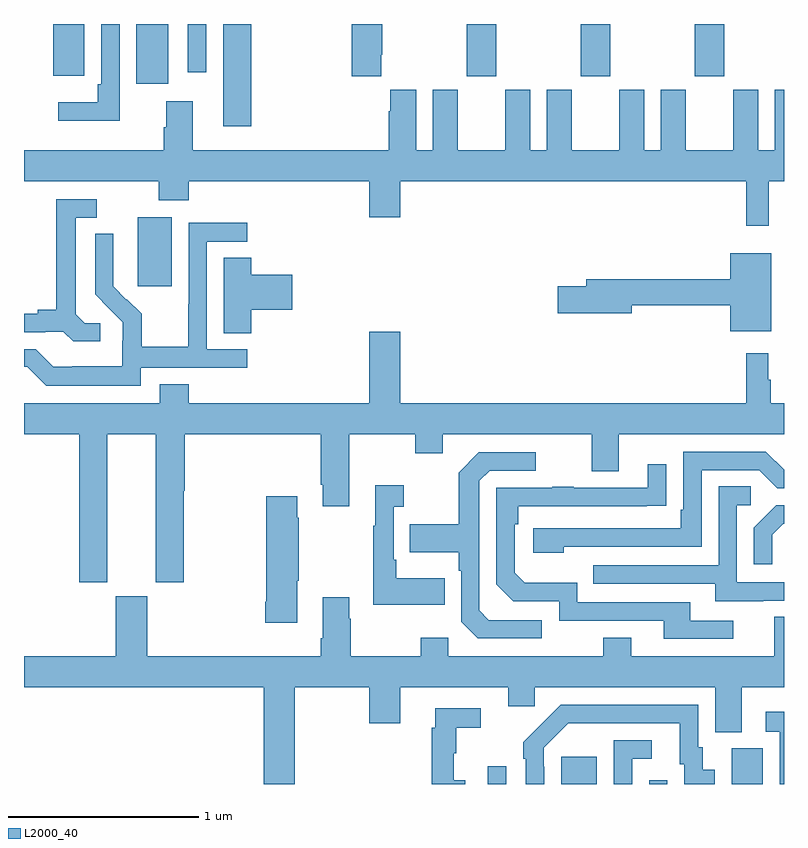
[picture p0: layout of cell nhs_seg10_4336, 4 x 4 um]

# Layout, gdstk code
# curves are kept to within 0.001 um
import gdstk
lib = gdstk.Library(unit=1e-6, precision=1e-09)
def R(c, l, rs):  # rectangles x0, y0, x1, y1
    for r in rs: c.add(gdstk.rectangle(r[:2], r[2:], *l))
def A(c, l, x, y, w, h, nx, ny, dx, dy):  # array of equal rectangles
    R(c, l, [(x+i*dx, y+j*dy, x+i*dx+w, y+j*dy+h) for i in range(nx) for j in range(ny)])
def P(c, l, *ps):  # polygons
    for p in ps: c.add(gdstk.Polygon(p, *l))
L2000_40 = (2000, 40)

nhs_seg10_4336 = lib.new_cell('nhs_seg10_4336')
A(nhs_seg10_4336, L2000_40, 357.331, 1278.225, 0.155, 0.275, 3, 1, 0.6, 0)
R(nhs_seg10_4336, L2000_40, [(357.441,1274.5,357.537,1274.593), (357.827,1274.5,358.015,1274.644), (358.29,1274.5,358.386,1274.521), (358.724,1274.5,358.888,1274.688), (355.598,1277.121,355.777,1277.482), (356.048,1277.961,356.195,1278.5), (355.592,1278.186,355.759,1278.5), (355.154,1278.227,355.318,1278.5), (355.863,1278.246,355.959,1278.5)])
P(nhs_seg10_4336, L2000_40, [(355.503,1278.5),(355.407,1278.5),(355.407,1278.184),(355.387,1278.184),(355.387,1278.088),(355.179,1278.088),(355.179,1277.99),(355.503,1277.99)],
  [(356.881,1278.337),(356.886,1278.337),(356.886,1278.5),(356.726,1278.5),(356.726,1278.225),(356.881,1278.225)],
  [(358.919,1277.672),(359,1277.672),(359,1278.154),(358.952,1278.154),(358.952,1277.836),(358.864,1277.836),(358.864,1278.154),(358.733,1278.154),(358.733,1277.836),(358.483,1277.836),(358.483,1278.154),(358.352,1278.154),(358.352,1277.836),(358.264,1277.836),(358.264,1278.154),(358.133,1278.154),(358.133,1277.836),(357.883,1277.836),(357.883,1278.154),(357.752,1278.154),(357.752,1277.836),(357.664,1277.836),(357.664,1278.154),(357.533,1278.154),(357.533,1277.836),(357.283,1277.836),(357.283,1278.154),(357.152,1278.154),(357.152,1277.836),(357.064,1277.836),(357.064,1278.154),(356.927,1278.154),(356.927,1278.041),(356.921,1278.041),(356.921,1277.836),(355.888,1277.836),(355.888,1278.094),(355.748,1278.094),(355.748,1277.957),(355.736,1277.957),(355.736,1277.836),(355,1277.836),(355,1277.672),(355.708,1277.672),(355.708,1277.573),(355.868,1277.573),(355.868,1277.672),(356.816,1277.672),(356.816,1277.484),(356.98,1277.484),(356.98,1277.672),(358.801,1277.672),(358.801,1277.439),(358.919,1277.439)],
  [(355.402,1276.926),(355.32,1276.926),(355.273,1276.973),(355.273,1277.481),(355.384,1277.481),(355.384,1277.577),(355.169,1277.577),(355.169,1276.997),(355.073,1276.997),(355.073,1276.974),(355,1276.974),(355,1276.878),(355.112,1276.878),(355.112,1276.881),(355.206,1276.881),(355.258,1276.829),(355.402,1276.829)],
  [(355.614,1276.692),(356.176,1276.692),(356.176,1276.788),(355.962,1276.788),(355.962,1277.355),(356.176,1277.355),(356.176,1277.454),(355.866,1277.454),(355.866,1277.024),(355.864,1277.024),(355.864,1276.801),(355.619,1276.801),(355.619,1276.975),(355.542,1277.052),(355.539,1277.049),(355.469,1277.12),(355.47,1277.396),(355.374,1277.396),(355.374,1277.078),(355.52,1276.93),(355.52,1276.833),(355.518,1276.833),(355.518,1276.699),(355.255,1276.699),(355.255,1276.695),(355.155,1276.695),(355.062,1276.788),(355,1276.788),(355,1276.695),(355.017,1276.695),(355.117,1276.595),(355.614,1276.595)],
  [(358.933,1277.293),(358.718,1277.293),(358.718,1277.156),(357.959,1277.156),(357.959,1277.12),(357.81,1277.12),(357.81,1276.978),(358.198,1276.978),(358.198,1277.02),(358.718,1277.02),(358.718,1276.883),(358.933,1276.883)],
  [(356.195,1276.997),(356.413,1276.997),(356.413,1277.18),(356.195,1277.18),(356.195,1277.27),(356.051,1277.27),(356.051,1276.873),(356.195,1276.873)],
  [(355.868,1276.603),(355.715,1276.603),(355.715,1276.504),(355,1276.504),(355,1276.34),(355.291,1276.34),(355.291,1275.561),(355.438,1275.561),(355.438,1276.34),(355.694,1276.34),(355.694,1275.561),(355.842,1275.561),(355.842,1276.044),(355.847,1276.044),(355.847,1276.34),(356.561,1276.34),(356.561,1276.075),(356.573,1276.075),(356.573,1275.963),(356.713,1275.963),(356.713,1276.34),(357.058,1276.34),(357.058,1276.241),(357.205,1276.241),(357.205,1276.34),(357.989,1276.34),(357.989,1276.146),(358.129,1276.146),(358.129,1276.34),(359,1276.34),(359,1276.504),(358.93,1276.504),(358.93,1276.628),(358.918,1276.628),(358.918,1276.768),(358.801,1276.768),(358.801,1276.504),(356.98,1276.504),(356.98,1276.879),(356.816,1276.879),(356.816,1276.504),(355.868,1276.504)],
  [(357.842,1275.75),(358.566,1275.75),(358.566,1276.152),(358.869,1276.152),(358.965,1276.056),(359,1276.056),(359,1276.153),(358.905,1276.248),(358.47,1276.248),(358.47,1275.943),(358.457,1275.943),(358.457,1275.846),(357.681,1275.846),(357.681,1275.716),(357.842,1275.716)],
  [(357.724,1275.363),(357.447,1275.363),(357.396,1275.414),(357.396,1276.095),(357.45,1276.149),(357.694,1276.149),(357.694,1276.245),(357.393,1276.245),(357.288,1276.139),(357.288,1275.867),(357.031,1275.867),(357.031,1275.719),(357.288,1275.719),(357.288,1275.623),(357.3,1275.623),(357.3,1275.354),(357.387,1275.267),(357.724,1275.267)],
  [(358.732,1275.36),(358.507,1275.36),(358.507,1275.456),(357.912,1275.456),(357.912,1275.559),(357.635,1275.559),(357.582,1275.612),(357.582,1275.866),(357.602,1275.866),(357.602,1275.963),(358.379,1275.964),(358.379,1276.183),(358.283,1276.183),(358.283,1276.059),(357.893,1276.059),(357.893,1276.064),(357.781,1276.064),(357.781,1276.059),(357.486,1276.059),(357.486,1275.552),(357.576,1275.462),(357.816,1275.462),(357.816,1275.36),(358.367,1275.36),(358.367,1275.264),(358.732,1275.264)],
  [(357.215,1275.583),(356.959,1275.583),(356.959,1275.679),(356.946,1275.679),(356.946,1275.959),(356.998,1275.959),(356.998,1276.072),(356.849,1276.072),(356.849,1275.859),(356.838,1275.859),(356.838,1275.443),(357.215,1275.443)],
  [(358.891,1275.465),(359,1275.465),(359,1275.561),(358.752,1275.561),(358.752,1275.966),(358.825,1275.966),(358.825,1276.067),(358.656,1276.067),(358.656,1275.651),(357.997,1275.651),(357.997,1275.555),(358.637,1275.555),(358.637,1275.461),(358.891,1275.461)],
  [(356.437,1275.571),(356.445,1275.571),(356.445,1275.902),(356.437,1275.902),(356.437,1276.015),(356.275,1276.015),(356.275,1275.46),(356.27,1275.46),(356.27,1275.348),(356.437,1275.348)],
  [(358.939,1275.813),(358.996,1275.87),(359,1275.87),(359,1275.966),(358.958,1275.966),(358.842,1275.85),(358.842,1275.657),(358.939,1275.657)],
  [(356.425,1275.008),(356.816,1275.008),(356.816,1274.82),(356.98,1274.82),(356.98,1275.008),(357.548,1275.008),(357.548,1274.91),(357.687,1274.91),(357.687,1275.008),(358.637,1275.008),(358.637,1274.773),(358.777,1274.773),(358.777,1275.008),(359,1275.008),(359,1275.38),(358.949,1275.38),(358.949,1275.172),(358.195,1275.172),(358.195,1275.271),(358.048,1275.271),(358.048,1275.172),(357.234,1275.172),(357.234,1275.271),(357.088,1275.271),(357.088,1275.172),(356.721,1275.172),(356.721,1275.371),(356.713,1275.371),(356.713,1275.484),(356.573,1275.484),(356.573,1275.268),(356.561,1275.268),(356.561,1275.172),(355.648,1275.172),(355.648,1275.489),(355.484,1275.489),(355.484,1275.172),(355,1275.172),(355,1275.008),(356.261,1275.008),(356.261,1274.5),(356.425,1274.5)],
  [(357.738,1274.591),(357.735,1274.591),(357.735,1274.691),(357.864,1274.82),(358.451,1274.82),(358.451,1274.604),(358.475,1274.604),(358.475,1274.5),(358.636,1274.5),(358.636,1274.575),(358.573,1274.575),(358.573,1274.694),(358.548,1274.694),(358.548,1274.916),(357.824,1274.916),(357.627,1274.721),(357.627,1274.633),(357.642,1274.633),(357.642,1274.5),(357.738,1274.5)],
  [(357.322,1274.521),(357.263,1274.521),(357.263,1274.661),(357.274,1274.661),(357.274,1274.797),(357.403,1274.797),(357.403,1274.898),(357.164,1274.898),(357.164,1274.795),(357.145,1274.795),(357.145,1274.5),(357.322,1274.5)],
  [(359,1274.881),(358.905,1274.881),(358.905,1274.775),(358.977,1274.775),(358.977,1274.5),(359,1274.5)],
  [(358.2,1274.634),(358.303,1274.634),(358.303,1274.73),(358.104,1274.73),(358.104,1274.5),(358.2,1274.5)])

lib.write_gds('nhs_seg10_4336.gds')
